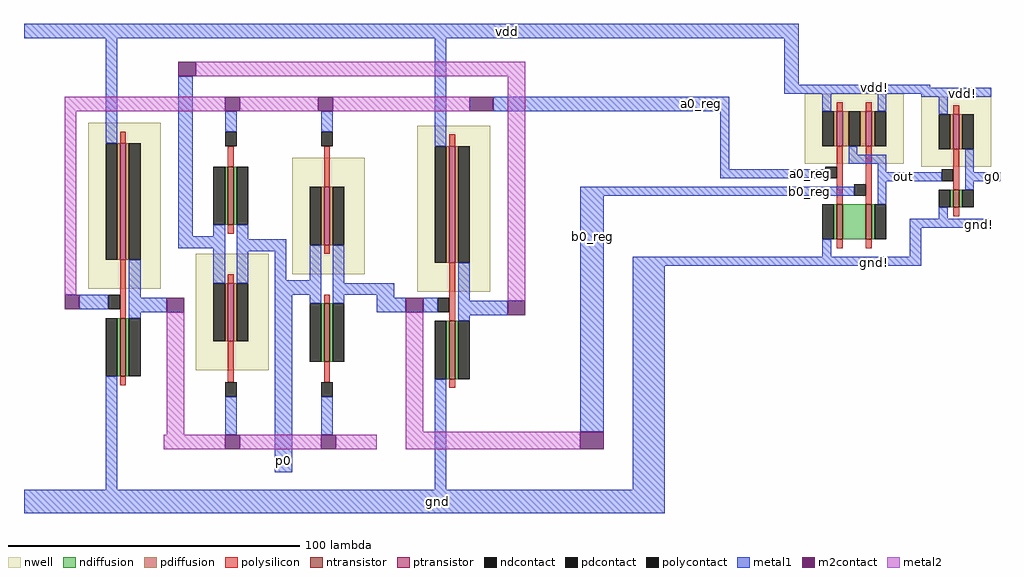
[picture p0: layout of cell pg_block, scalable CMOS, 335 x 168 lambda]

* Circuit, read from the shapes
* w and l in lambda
.subckt pg_block a0_reg b0_reg g0 gnd out p0 vdd
M1 n1 a0_reg gnd VSUBS nfet w=20 l=2
M2 p0 a0_reg n2 VSUBS nfet w=20 l=2
M3 b0_reg n1 p0 VSUBS nfet w=20 l=2
M4 n2 b0_reg gnd VSUBS nfet w=20 l=2
M5 n3 a0_reg gnd VSUBS nfet w=12 l=2
M6 out b0_reg n3 VSUBS nfet w=12 l=2
M7 g0 out gnd VSUBS nfet w=6 l=2
M8 n1 a0_reg vdd n4 pfet w=40 l=2
M9 p0 n1 n2 n5 pfet w=20 l=2
M10 b0_reg a0_reg p0 n6 pfet w=20 l=2
M11 n2 b0_reg vdd n7 pfet w=40 l=2
M12 out a0_reg vdd n8 pfet w=12 l=2
M13 vdd b0_reg out n8 pfet w=12 l=2
M14 g0 out vdd n9 pfet w=12 l=2
.ends

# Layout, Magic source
magic
tech scmos
<< nwell >>
rect 254 -29 279 28
rect 291 -57 316 -17
rect 324 -24 349 16
rect 367 -30 392 27
rect 500 14 534 38
rect 540 13 564 37
<< ntransistor >>
rect 302 -7 304 13
rect 511 -12 513 0
rect 521 -12 523 0
rect 551 -1 553 5
rect 265 -59 267 -39
rect 335 -54 337 -34
rect 378 -60 380 -40
<< ptransistor >>
rect 265 -19 267 21
rect 511 20 513 32
rect 521 20 523 32
rect 335 -14 337 6
rect 378 -20 380 20
rect 551 19 553 31
rect 302 -47 304 -27
<< ndiffusion >>
rect 301 -7 302 13
rect 304 -7 305 13
rect 510 -12 511 0
rect 513 -12 521 0
rect 523 -12 524 0
rect 550 -1 551 5
rect 553 -1 554 5
rect 264 -59 265 -39
rect 267 -59 268 -39
rect 334 -54 335 -34
rect 337 -54 338 -34
rect 377 -60 378 -40
rect 380 -60 381 -40
<< pdiffusion >>
rect 264 -19 265 21
rect 267 -19 268 21
rect 510 20 511 32
rect 513 20 515 32
rect 519 20 521 32
rect 523 20 524 32
rect 334 -14 335 6
rect 337 -14 338 6
rect 377 -20 378 20
rect 380 -20 381 20
rect 550 19 551 31
rect 553 19 554 31
rect 301 -47 302 -27
rect 304 -47 305 -27
<< ndcontact >>
rect 297 -7 301 13
rect 305 -7 309 13
rect 506 -12 510 0
rect 524 -12 528 0
rect 546 -1 550 5
rect 554 -1 558 5
rect 260 -59 264 -39
rect 268 -59 272 -39
rect 330 -54 334 -34
rect 338 -54 342 -34
rect 373 -60 377 -40
rect 381 -60 385 -40
<< pdcontact >>
rect 260 -19 264 21
rect 268 -19 272 21
rect 506 20 510 32
rect 515 20 519 32
rect 524 20 528 32
rect 330 -14 334 6
rect 338 -14 342 6
rect 373 -20 377 20
rect 381 -20 385 20
rect 546 19 550 31
rect 554 19 558 31
rect 297 -47 301 -27
rect 305 -47 309 -27
<< polysilicon >>
rect 511 32 513 35
rect 521 32 523 35
rect 265 21 267 25
rect 378 20 380 24
rect 551 31 553 34
rect 302 13 304 20
rect 335 6 337 20
rect 302 -10 304 -7
rect 335 -17 337 -14
rect 265 -39 267 -19
rect 511 0 513 20
rect 521 0 523 20
rect 551 5 553 19
rect 551 -4 553 -1
rect 511 -15 513 -12
rect 521 -15 523 -12
rect 302 -27 304 -24
rect 335 -34 337 -31
rect 265 -62 267 -59
rect 302 -61 304 -47
rect 378 -40 380 -20
rect 335 -61 337 -54
rect 378 -63 380 -60
<< polycontact >>
rect 301 20 305 25
rect 334 20 338 25
rect 261 -36 265 -31
rect 507 9 511 13
rect 517 3 521 7
rect 547 8 551 12
rect 374 -37 378 -32
rect 301 -66 305 -61
rect 334 -66 338 -61
<< metal1 >>
rect 232 57 498 62
rect 260 21 264 57
rect 285 -11 290 44
rect 301 25 305 32
rect 334 25 338 32
rect 373 20 377 57
rect 493 41 498 57
rect 493 40 543 41
rect 493 38 564 40
rect 393 32 474 37
rect 297 -11 301 -7
rect 285 -15 301 -11
rect 251 -36 261 -31
rect 268 -32 272 -19
rect 297 -27 301 -15
rect 268 -37 281 -32
rect 268 -39 272 -37
rect 305 -12 309 -7
rect 305 -16 322 -12
rect 305 -27 309 -16
rect 318 -26 322 -16
rect 330 -26 334 -14
rect 318 -31 334 -26
rect 260 -98 264 -59
rect 301 -79 305 -66
rect 318 -92 324 -31
rect 330 -34 334 -31
rect 338 -27 342 -14
rect 471 12 474 32
rect 506 32 509 38
rect 525 32 528 38
rect 540 37 564 38
rect 546 31 549 37
rect 515 17 518 20
rect 515 14 528 17
rect 471 9 507 12
rect 525 11 528 14
rect 525 8 547 11
rect 555 11 558 19
rect 555 8 567 11
rect 338 -31 359 -27
rect 338 -34 342 -31
rect 353 -32 359 -31
rect 353 -37 363 -32
rect 369 -37 374 -32
rect 381 -33 385 -20
rect 423 3 517 6
rect 381 -38 398 -33
rect 381 -40 385 -38
rect 334 -79 338 -66
rect 373 -98 377 -60
rect 423 -78 431 3
rect 525 0 528 8
rect 555 5 558 8
rect 546 -5 549 -1
rect 536 -8 564 -5
rect 506 -18 509 -12
rect 536 -18 540 -8
rect 441 -21 540 -18
rect 441 -98 452 -21
rect 232 -106 452 -98
<< m2contact >>
rect 285 44 291 49
rect 301 32 306 37
rect 333 32 338 37
rect 385 32 393 37
rect 246 -36 251 -31
rect 281 -37 287 -32
rect 301 -84 306 -79
rect 363 -37 369 -32
rect 398 -38 404 -33
rect 334 -84 339 -79
rect 423 -84 431 -78
<< metal2 >>
rect 291 44 404 49
rect 246 32 301 37
rect 306 32 333 37
rect 338 32 385 37
rect 246 -31 250 32
rect 281 -79 287 -37
rect 363 -78 369 -37
rect 398 -33 404 44
rect 280 -84 301 -79
rect 306 -84 334 -79
rect 339 -84 353 -79
rect 363 -84 423 -78
<< labels >>
rlabel metal1 562 8 567 11 1 g0
rlabel metal1 500 3 503 6 1 b0_reg
rlabel metal1 500 9 504 12 1 a0_reg
rlabel metal1 560 -7 560 -7 1 gnd!
rlabel metal1 554 38 554 38 5 vdd!
rlabel metal1 534 8 534 11 7 out
rlabel metal1 524 -20 524 -20 1 gnd!
rlabel metal1 524 40 524 40 5 vdd!
rlabel metal1 457 32 472 37 1 a0_reg
rlabel metal1 423 -19 431 -3 1 b0_reg
rlabel metal1 318 -91 324 -85 1 p0
rlabel metal1 341 57 455 62 1 vdd
rlabel metal1 317 -105 431 -99 1 gnd
<< end >>
